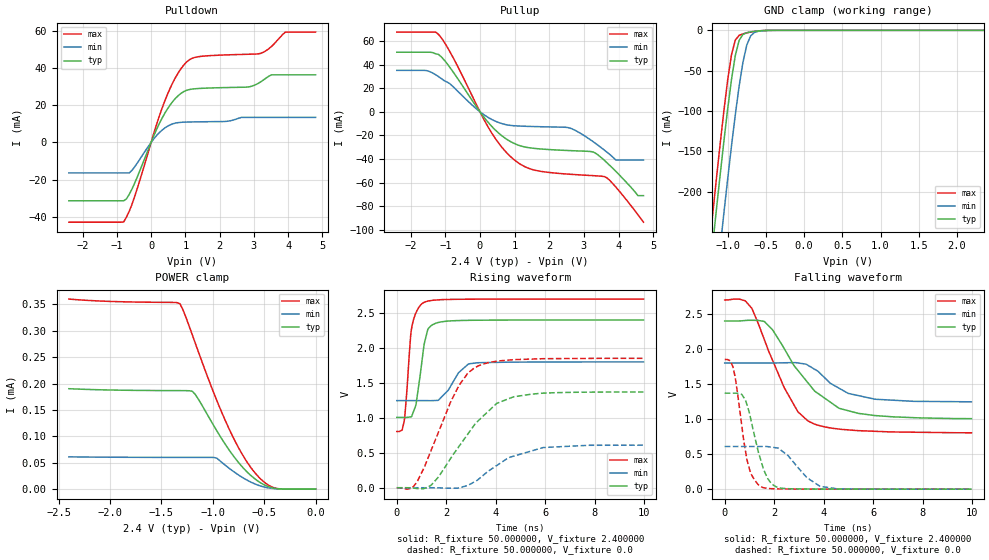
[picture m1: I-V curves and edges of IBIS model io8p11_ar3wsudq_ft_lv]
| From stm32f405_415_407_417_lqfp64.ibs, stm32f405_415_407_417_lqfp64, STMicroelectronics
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|   Model io8p11_ar3wsudq_ft_lv
[Model]  io8p11_ar3wsudq_ft_lv
Model_type I/O
Polarity   Non-Inverting
Enable   Active-Low
Vinl =   0.720000V
Vinh =   1.680000V
Vmeas =  1.200000V
Cref =   30.000000pF
Rref =   100.000000M
Vref =   0.0V
C_comp   3.740800pF   3.684200pF   3.822900pF
[Temperature Range]   25.000000   0.125000k   -40.000000
[Pullup Reference]   2.400000V   1.800000V   2.700000V
[Pulldown Reference]   0.0V   0.0V   0.0V
[POWER Clamp Reference]   2.400000V   1.800000V   2.700000V
[GND Clamp Reference]   0.0V   0.0V   0.0V
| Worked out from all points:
|   slope of the pulldown table from 0 to 0.36 V, typ, clamps not added: 25 ohm
|   slope of the pullup table from 0 to 0.36 V, typ, clamps not added: 27.7 ohm
|   GND clamp passes 1 mA (typ) near -0.62 V on its own axis
|   rising waveform, R_fixture 50.000000, V_fixture 2.400000: 20-80 % time 337ps typ, 660ps min, 257ps max; typ from 1.01 V to 2.4 V
|   rising waveform, R_fixture 50.000000, V_fixture 0.0: 20-80 % time 1.8ns typ, 1.76ns min, 1.35ns max; typ from 0 V to 1.37 V
|   falling waveform, R_fixture 50.000000, V_fixture 2.400000: 20-80 % time 1.89ns typ, 1.37ns min, 1.43ns max; typ from 2.4 V to 1.01 V
|   falling waveform, R_fixture 50.000000, V_fixture 0.0: 20-80 % time 588ps typ, 968ps min, 464ps max; typ from 1.37 V to 0 V
[Pulldown]
|Voltage   I(typ)   I(min)   I(max)
-2.4V     -31.47mA   -16.45mA   -43.01mA
-800mV    -31.47mA   -16.45mA   -42.85mA
-480mV    -21.98mA   -13.17mA   -29.21mA
80mV      3.63mA     1.966mA    5.014mA
480mV     18.16mA    8.738mA    26.02mA
800mV     25.38mA    10.72mA    37.77mA
1.12V     28.53mA    11.02mA    44.6mA
2.8V      29.84mA    13.51mA    47.53mA
3.2V      32.66mA    13.51mA    48.04mA
3.52V     36.44mA    13.51mA    51.84mA
3.92V     36.44mA    13.51mA    59.5mA
4.8V      36.44mA    13.51mA    59.5mA
[Pullup]
|Voltage   I(typ)   I(min)   I(max)
-2.4V     50.45mA    35.09mA    67.51mA
-1.52V    50.45mA    34.74mA    67.51mA
-1.2V     48.65mA    29.87mA    65.66mA
320mV     -11.75mA   -6.207mA   -17.08mA
1.04V     -27.54mA   -11.97mA   -41.91mA
1.6V      -31.14mA   -12.58mA   -49.63mA
2.56V     -32.88mA   -13.52mA   -52.9mA
3.28V     -34.25mA   -25.64mA   -54.18mA
3.6V      -41.44mA   -32.74mA   -55.03mA
3.92V     -50.46mA   -40.9mA    -63.79mA
4.56V     -71.1mA    -40.9mA    -87.27mA
4.72V     -71.1mA    -40.9mA    -93.6mA
[GND_clamp]
|Voltage   I(typ)   I(min)   I(max)
-2.4V     -1.429A    -1.514A    -1.399A
-1.25V    -315.9mA   -407.2mA   -278.2mA
-1.2V     -270.1mA   -361.3mA   -232.1mA
-1.15V    -225mA     -316mA     -186.8mA
-1.1V     -180.9mA   -271.3mA   -142.7mA
-1.05V    -138.2mA   -227.5mA   -100.5mA
-950mV    -61.14mA   -143.6mA   -30.43mA
-900mV    -31.23mA   -104.7mA   -12.14mA
-850mV    -12.49mA   -69.4mA    -6.221mA
-750mV    -2.898mA   -18.35mA   -3.18mA
-600mV    -750.2uA   -1.218mA   -738.3uA
2.35V     0A         0A         0A
[POWER_clamp]
|Voltage   I(typ)   I(min)   I(max)
-2.4V     190.2uA    61.19uA    359.9uA
-1.32V    186.6uA    60.14uA    351.2uA
-1.29V    186.5uA    60.13uA    339.6uA
-1.2V     185.4uA    60.11uA    292.6uA
-1.17V    179.2uA    60.11uA    276.3uA
-960mV    110.2uA    58.62uA    167.5uA
-870mV    82.44uA    43.99uA    126.3uA
-750mV    50.58uA    26.92uA    78.64uA
-630mV    25.94uA    13.41uA    41.02uA
-510mV    9.22uA     4.527uA    14.97uA
-420mV    2.425uA    1.38uA     3.75uA
0V        0A         0A         0A
[Ramp]
| variable   typ   min   max
dV/dt_r  0.82176/1.79371n   0.36392/1.74958n   1.11108/1.34673n
dV/dt_f  0.83316/1.88622n   0.33246/1.39533n   1.13576/1.42763n
R_load = 50.000000
[Rising Waveform]
R_fixture= 50.000000
V_fixture= 2.400000
V_fixture_min= 1.800000
V_fixture_max= 2.700000
|time   V(typ)   V(min)   V(max)
0s        1.006V     1.247V     804.7mV
220.2ps   1.006V     1.247V     829.8mV
320.3ps   1.006V     1.247V     1.001V
600.6ps   1.02V      1.247V     2.283V
780.8ps   1.198V     1.247V     2.507V
1.081ns   1.988V     1.247V     2.648V
1.261ns   2.273V     1.246V     2.67V
1.461ns   2.335V     1.247V     2.682V
2.903ns   2.395V     1.772V     2.697V
9.97ns    2.4V       1.8V       2.699V
[Rising Waveform]
R_fixture= 50.000000
V_fixture= 0.0
V_fixture_min= 0.0
V_fixture_max= 0.0
|time   V(typ)   V(min)   V(max)
0s        164.7uV    65.06uV    284.1uV
540.5ps   -1.32mV    51.37uV    -12.07mV
820.8ps   -11.83mV   61.75uV    83.34mV
1.401ns   40.83mV    135.7uV    546.1mV
2.182ns   422.2mV    -6.889mV   1.231V
3.143ns   902.2mV    85.61mV    1.716V
4.044ns   1.208V     319mV      1.81V
4.725ns   1.301V     452.2mV    1.832V
5.926ns   1.353V     575.4mV    1.846V
9.97ns    1.37V      609mV      1.851V
[Falling Waveform]
R_fixture= 50.000000
V_fixture= 2.400000
V_fixture_min= 1.800000
V_fixture_max= 2.700000
|time   V(typ)   V(min)   V(max)
0s        2.4V       1.8V       2.699V
820.8ps   2.407V     1.8V       2.689V
1.101ns   2.41V      1.8V       2.577V
1.602ns   2.393V     1.8V       2.134V
2.402ns   2.008V     1.804V     1.451V
2.963ns   1.693V     1.801V     1.103V
3.363ns   1.518V     1.768V     973.9mV
4.625ns   1.154V     1.44V      857.6mV
5.385ns   1.083V     1.337V     835.2mV
9.97ns    1.006V     1.247V     804.7mV
[Falling Waveform]
R_fixture= 50.000000
V_fixture= 0.0
V_fixture_min= 0.0
V_fixture_max= 0.0
|time   V(typ)   V(min)   V(max)
0s        1.37V      609mV      1.851V
340.3ps   1.37V      609mV      1.735V
440.4ps   1.37V      609mV      1.561V
840.8ps   1.268V     608.9mV    543mV
1.081ns   955.9mV    608.7mV    210.5mV
1.441ns   434.5mV    609.1mV    39.75mV
1.722ns   162.4mV    608.1mV    11.7mV
2.042ns   40.98mV    592.4mV    5.379mV
3.864ns   1.758mV    39.73mV    1.119mV
9.97ns    164.7uV    65.06uV    284.1uV
